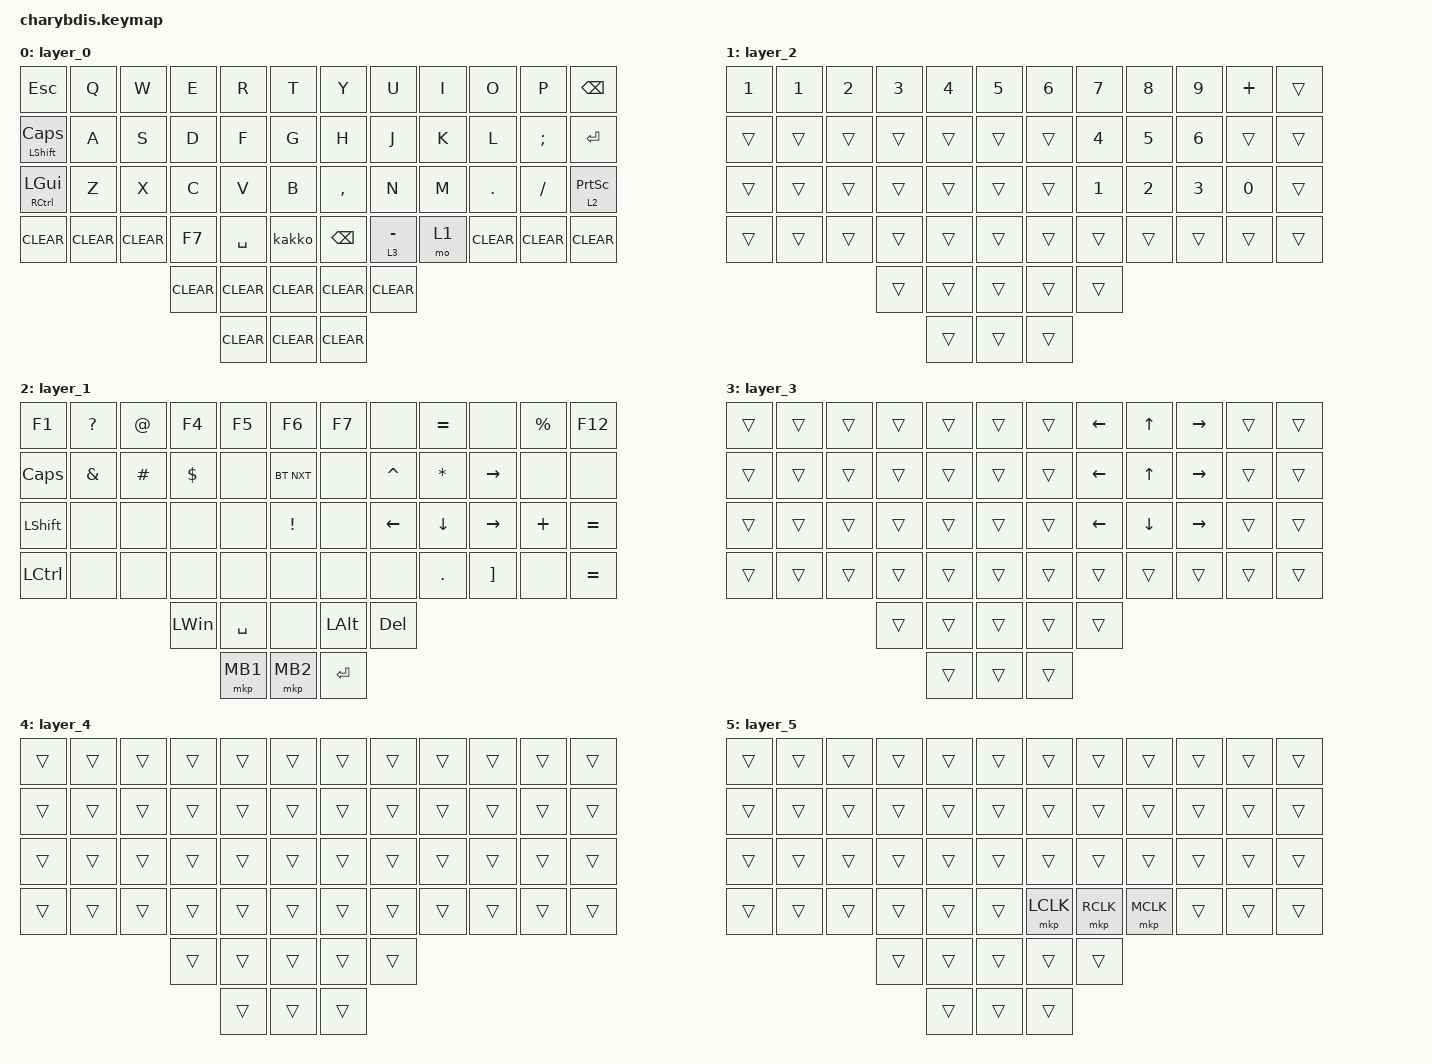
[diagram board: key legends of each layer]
#include <dt-bindings/zmk/mouse.h>
#include <behaviors.dtsi>
#include <dt-bindings/zmk/bt.h>
#include <dt-bindings/zmk/keys.h>
#include <dt-bindings/zmk/pointing.h>

&lt {
    tapping-term-ms = <200>;
    flavor = "balanced";
    quick-tap-ms = <150>;
};

/ {
    combos {
        compatible = "zmk,combos";

        atto {
            bindings = <&kp AT_SIGN>;
            key-positions = <2 12>;
        };
    };

    macros {
        kakko: kakko {
            compatible = "zmk,behavior-macro";
            #binding-cells = <0>;
            bindings = <&kp LEFT_PARENTHESIS &kp RIGHT_PARENTHESIS>;
            label = "KAKKO";
        };
    };

    keymap {
        compatible = "zmk,keymap";

        layer_0 {
            bindings = <
&kp ESC              &kp Q      &kp W      &kp E      &kp R      &kp T        &kp Y          &kp U        &kp I  &kp O       &kp P          &kp BACKSPACE
&mt LEFT_SHIFT CLCK  &kp A      &kp S      &kp D      &kp F      &kp G        &kp H          &kp J        &kp K  &kp L       &kp SEMICOLON  &kp RET
&mt RCTRL LEFT_GUI   &kp Z      &kp X      &kp C      &kp V      &kp B        &kp COMMA      &kp N        &kp M  &kp PERIOD  &kp SLASH      &lt 2 PRINTSCREEN
&kp CLEAR            &kp CLEAR  &kp CLEAR  &kp F7     &kp SPACE  &kakko       &kp BACKSPACE  &lt 3 MINUS  &mo 1  &kp CLEAR   &kp CLEAR      &kp CLEAR
                                           &kp CLEAR  &kp CLEAR  &kp CLEAR    &kp CLEAR      &kp CLEAR
                                                      &kp CLEAR  &kp CLEAR    &kp CLEAR
            >;
        };

        layer_2 {
            bindings = <
&kp N1  &kp N1  &kp N2  &kp N3  &kp N4  &kp N5    &kp N6  &kp N7  &kp N8  &kp N9  &kp PLUS  &trans
&trans  &trans  &trans  &trans  &trans  &trans    &trans  &kp N4  &kp N5  &kp N6  &trans    &trans
&trans  &trans  &trans  &trans  &trans  &trans    &trans  &kp N1  &kp N2  &kp N3  &kp N0    &trans
&trans  &trans  &trans  &trans  &trans  &trans    &trans  &trans  &trans  &trans  &trans    &trans
                        &trans  &trans  &trans    &trans  &trans
                                &trans  &trans    &trans
            >;
        };

        layer_1 {
            bindings = <
&kp F1          &kp QUESTION   &kp AT_SIGN  &kp F4        &kp F5     &kp F6             &kp F7     &none       &kp EQUAL     &none              &kp PERCENT  &kp F12
&kp CAPS        &kp AMPERSAND  &kp HASH     &kp DOLLAR    &none      &bt BT_NXT         &none      &kp CARET   &kp ASTERISK  &kp RIGHT          &none        &none
&kp LEFT_SHIFT  &none          &none        &none         &none      &kp EXCLAMATION    &none      &kp LEFT    &kp DOWN      &kp RIGHT          &kp PLUS     &kp EQUAL
&kp LCTRL       &none          &none        &none         &none      &none              &none      &none       &kp PERIOD    &kp RIGHT_BRACKET  &none        &kp EQUAL
                                            &kp LEFT_WIN  &kp SPACE  &none              &kp LALT   &kp DELETE
                                                          &mkp MB1   &mkp MB2           &kp ENTER
            >;
        };

        layer_3 {
            bindings = <
&trans  &trans  &trans  &trans  &trans  &trans    &trans  &kp LEFT_ARROW  &kp UP_ARROW    &kp RIGHT_ARROW  &trans  &trans
&trans  &trans  &trans  &trans  &trans  &trans    &trans  &kp LEFT_ARROW  &kp UP_ARROW    &kp RIGHT_ARROW  &trans  &trans
&trans  &trans  &trans  &trans  &trans  &trans    &trans  &kp LEFT_ARROW  &kp DOWN_ARROW  &kp RIGHT_ARROW  &trans  &trans
&trans  &trans  &trans  &trans  &trans  &trans    &trans  &trans          &trans          &trans           &trans  &trans
                        &trans  &trans  &trans    &trans  &trans
                                &trans  &trans    &trans
            >;
        };

        layer_4 {
            bindings = <
&trans  &trans  &trans  &trans  &trans  &trans    &trans  &trans  &trans  &trans  &trans  &trans
&trans  &trans  &trans  &trans  &trans  &trans    &trans  &trans  &trans  &trans  &trans  &trans
&trans  &trans  &trans  &trans  &trans  &trans    &trans  &trans  &trans  &trans  &trans  &trans
&trans  &trans  &trans  &trans  &trans  &trans    &trans  &trans  &trans  &trans  &trans  &trans
                        &trans  &trans  &trans    &trans  &trans
                                &trans  &trans    &trans
            >;
        };

        layer_5 {
            bindings = <
&trans  &trans  &trans  &trans  &trans  &trans    &trans     &trans     &trans     &trans  &trans  &trans
&trans  &trans  &trans  &trans  &trans  &trans    &trans     &trans     &trans     &trans  &trans  &trans
&trans  &trans  &trans  &trans  &trans  &trans    &trans     &trans     &trans     &trans  &trans  &trans
&trans  &trans  &trans  &trans  &trans  &trans    &mkp LCLK  &mkp RCLK  &mkp MCLK  &trans  &trans  &trans
                        &trans  &trans  &trans    &trans     &trans
                                &trans  &trans    &trans
            >;
        };

        /* layer_2 {
            bindings = <
&none  &none   &none    &none   &none         &none         &kp N1         &none         &none     &none  &none   &to 0
&none  &none   &none    &none   &none         &none         &none         &none          &rgb_ug RGB_BRD &rgb_ug RGB_BRI  &rgb_ug RGB_EFF   &rgb_ug RGB_TOG
&none  &none   &none    &none   &none         &none         &none         &mkp LCLK     &mkp RCLK  &none  &none   &none
&none  &none   &none    &none   &bt BT_NXT  &bt BT_CLR    &none         &none         &none     &none  &none   &none
                                   &none         &none         &none         &none         &none
                                                 &none         &none         &none
            >;
          trackball-bindings = <&tsl>;
            
        };

       Mouse {
            bindings = <
&none        &none         &none         &none         &none      &none         &none       &none      &none         &none         &none         &none
&none        &bt BT_SEL 0  &bt BT_SEL 1  &bt BT_SEL 3  &none      &bt BT_CLR    &bt BT_CLR  &none      &bt BT_SEL 2  &bt BT_SEL 1  &bt BT_SEL 0  &none
&none        &trans        &trans        &mkp MCLK     &trans     &none         &none       &trans     &mkp MCLK     &trans        &trans        &none
&bootloader  &trans        &mkp RCLK     &mo 4         &mkp LCLK  &mo 5         &mo 5       &mkp LCLK  &mo 4         &mkp RCLK     &trans        &bootloader
                                         &mo 5         &mkp LCLK  &mkp RCLK     &mkp RCLK   &mkp LCLK
                                                       &none      &trans        &trans
            >;

            
        };

        layer_4 {
            bindings = <
&trans  &trans  &trans     &trans     &trans     &trans       &trans     &trans     &trans     &trans     &trans  &trans
&trans  &trans  &trans     &trans     &trans     &trans       &trans     &trans     &trans     &trans     &trans  &trans
&trans  &trans  &trans     &mkp MCLK  &trans     &trans       &trans     &trans     &mkp MCLK  &trans     &trans  &trans
&trans  &trans  &mkp RCLK  &trans     &mkp LCLK  &trans       &trans     &mkp LCLK  &trans     &mkp RCLK  &trans  &trans
                           &trans     &mkp LCLK  &mkp RCLK    &mkp RCLK  &mkp LCLK
                                      &trans     &trans       &trans
            >;
                
                
        };

        layer_5 {
            bindings = <
&trans  &trans  &trans     &trans     &trans     &trans       &trans     &trans     &trans     &trans     &trans  &trans
&trans  &trans  &trans     &trans     &trans     &trans       &trans     &trans     &trans     &trans     &trans  &trans
&trans  &trans  &trans     &mkp MCLK  &trans     &trans       &trans     &trans     &mkp MCLK  &trans     &trans  &trans
&trans  &trans  &mkp RCLK  &trans     &mkp LCLK  &trans       &trans     &mkp LCLK  &trans     &mkp RCLK  &trans  &trans
                           &trans     &mkp LCLK  &mkp RCLK    &mkp RCLK  &mkp LCLK
                                      &trans     &trans       &trans
            >;
                trackball-bindings = <&tmv_fine>;
                
        };*/
    };
};
